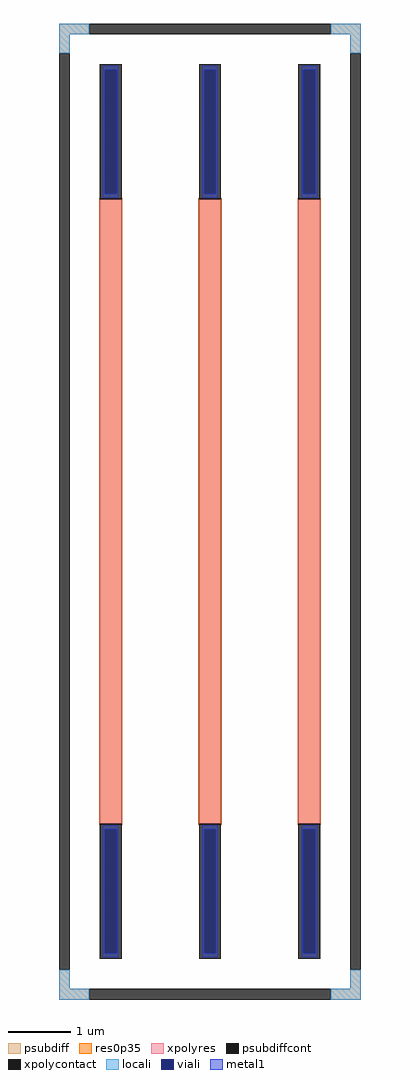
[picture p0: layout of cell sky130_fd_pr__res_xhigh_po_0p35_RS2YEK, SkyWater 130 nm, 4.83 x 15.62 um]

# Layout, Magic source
magic
tech sky130A
magscale 1 2
<< psubdiff >>
rect -483 1528 -387 1562
rect 387 1528 483 1562
rect -483 1466 -449 1528
rect 449 1466 483 1528
rect -483 -1528 -449 -1466
rect 449 -1528 483 -1466
rect -483 -1562 -387 -1528
rect 387 -1562 483 -1528
<< psubdiffcont >>
rect -387 1528 387 1562
rect -483 -1466 -449 1466
rect 449 -1466 483 1466
rect -387 -1562 387 -1528
<< xpolycontact >>
rect -353 1000 -283 1432
rect -353 -1432 -283 -1000
rect -35 1000 35 1432
rect -35 -1432 35 -1000
rect 283 1000 353 1432
rect 283 -1432 353 -1000
<< xpolyres >>
rect -353 -1000 -283 1000
rect -35 -1000 35 1000
rect 283 -1000 353 1000
<< locali >>
rect -483 1528 -387 1562
rect 387 1528 483 1562
rect -483 1466 -449 1528
rect 449 1466 483 1528
rect -483 -1528 -449 -1466
rect 449 -1528 483 -1466
rect -483 -1562 -387 -1528
rect 387 -1562 483 -1528
<< viali >>
rect -337 1017 -299 1414
rect -19 1017 19 1414
rect 299 1017 337 1414
rect -337 -1414 -299 -1017
rect -19 -1414 19 -1017
rect 299 -1414 337 -1017
<< metal1 >>
rect -343 1414 -293 1426
rect -343 1017 -337 1414
rect -299 1017 -293 1414
rect -343 1005 -293 1017
rect -25 1414 25 1426
rect -25 1017 -19 1414
rect 19 1017 25 1414
rect -25 1005 25 1017
rect 293 1414 343 1426
rect 293 1017 299 1414
rect 337 1017 343 1414
rect 293 1005 343 1017
rect -343 -1017 -293 -1005
rect -343 -1414 -337 -1017
rect -299 -1414 -293 -1017
rect -343 -1426 -293 -1414
rect -25 -1017 25 -1005
rect -25 -1414 -19 -1017
rect 19 -1414 25 -1017
rect -25 -1426 25 -1414
rect 293 -1017 343 -1005
rect 293 -1414 299 -1017
rect 337 -1414 343 -1017
rect 293 -1426 343 -1414
<< res0p35 >>
rect -355 -1002 -281 1002
rect -37 -1002 37 1002
rect 281 -1002 355 1002
<< properties >>
string FIXED_BBOX -466 -1545 466 1545
string gencell sky130_fd_pr__res_xhigh_po_0p35
string library sky130
string parameters w 0.350 l 10 m 1 nx 3 wmin 0.350 lmin 0.50 rho 2000 val 58.218k dummy 0 dw 0.0 term 188.2 sterm 0.0 caplen 0 wmax 0.350 guard 1 glc 1 grc 1 gtc 1 gbc 1 compatible {sky130_fd_pr__res_xhigh_po_0p35  sky130_fd_pr__res_xhigh_po_0p69 sky130_fd_pr__res_xhigh_po_1p41  sky130_fd_pr__res_xhigh_po_2p85 sky130_fd_pr__res_xhigh_po_5p73} full_metal 1 n_guard 0 hv_guard 0 vias 1 viagb 0 viagt 0 viagl 0 viagr 0
<< end >>
